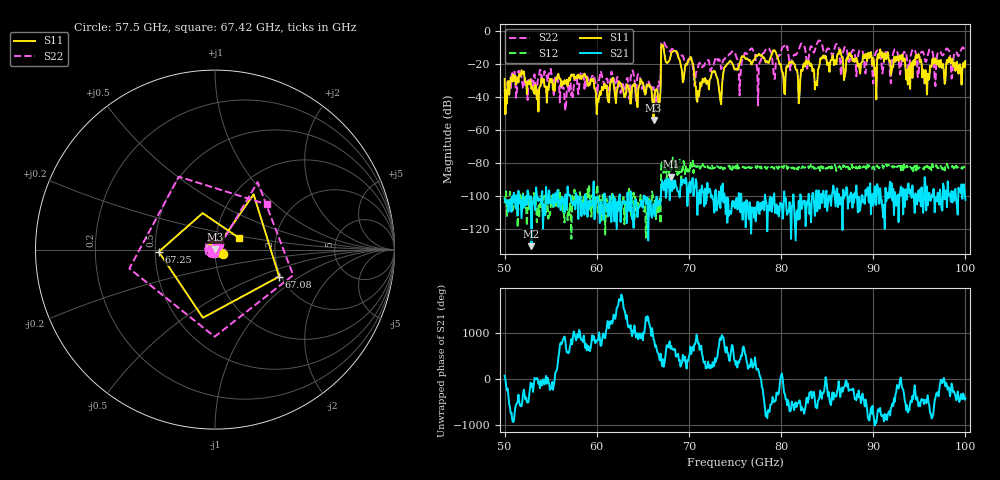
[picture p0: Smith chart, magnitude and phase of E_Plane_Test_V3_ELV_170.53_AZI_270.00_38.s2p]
! 11/26/2026 4:24:55 PM
! C:\ANRITSUVNA\TEMP\TEMP.S2P
! CHANNEL.1
! TR.MEASUREMENT
! RAW.DATA
# HZ S RI R 50.0
! FREQ.HZ  S11RE  S11IM  S21RE  S21IM  S12RE  S12IM  S22RE  S22IM
!; PortSelection: Port_12
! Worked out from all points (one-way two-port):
!   601 points, 50 GHz to 100 GHz, reference 50 ohm
!   highest |S21| = -88.26 dB at 68.08 GHz (marker M1); lowest = -130.5 dB at 52.92 GHz (marker M2)
!   lowest |S11| = -53.8 dB at 66.17 GHz (marker M3), VSWR 1.00, Z = 50.1 + j0.15 ohm
!   |S11| at or under -10 dB: start of sweep to 67 GHz; 67.25 GHz to end of sweep
!   |S22| runs from -48.2 to -5.6 dB; largest |S21 - S12| = 0.00018
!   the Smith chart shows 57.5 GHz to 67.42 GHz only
!   S11 on the Smith chart (normalised r, x): 57.5 GHz: 1.09, -0.05; 67.08 GHz: 1.95, -0.69; 67.25 GHz: 0.52, -0.01; 67.42 GHz: 1.29, +0.17
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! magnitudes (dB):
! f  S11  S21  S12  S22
! 50 GHz  -28.9  -101.7  -104.4  -35.6
! 52.92 GHz  -35.0  -130.5  -103.5  -29.2
! 57.5 GHz  -26.1  -104.5  -105.9  -34.6
! 58.42 GHz  -27.1  -104.6  -102.9  -24.8
! 60.17 GHz  -42.8  -102.2  -111.3  -30.4
! 66.17 GHz  -53.8  -104.7  -102.1  -34.0
! 66.67 GHz  -41.5  -104.8  -103.3  -31.6
! 67.08 GHz  -8.2  -90.6  -79.3  -6.8
! 67.25 GHz  -10.1  -96.5  -86.0  -6.2
! 67.42 GHz  -16.6  -90.3  -84.2  -8.3
! 68.08 GHz  -13.4  -88.3  -84.4  -11.3
! 70.25 GHz  -15.9  -91.3  -82.0  -18.8
! 70.92 GHz  -42.8  -111.5  -81.6  -23.1
! 75 GHz  -23.3  -107.4  -82.8  -12.9
! 79.25 GHz  -11.5  -98.4  -82.7  -28.8
! 80.25 GHz  -27.8  -109.2  -83.1  -9.3
! 83.42 GHz  -24.4  -98.1  -82.2  -10.8
! 91.67 GHz  -16.6  -101.4  -81.2  -15.2
! 93.75 GHz  -32.4  -93.3  -82.6  -21.3
! 94.83 GHz  -15.1  -101.2  -83.6  -27.9
! 95.83 GHz  -38.5  -94.3  -81.6  -16.5
! 100 GHz  -18.1  -102.3  -83.5  -12.6
